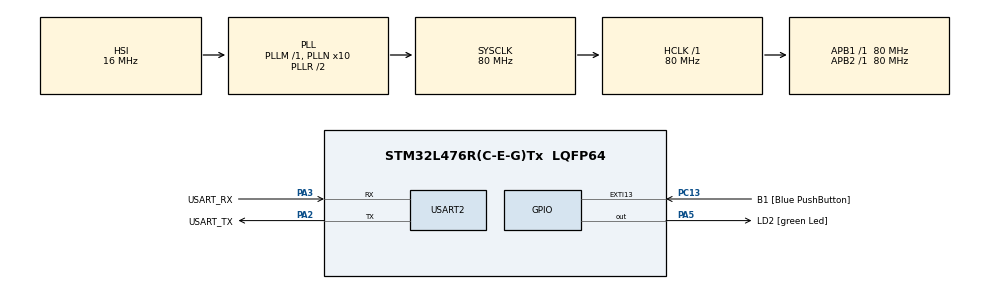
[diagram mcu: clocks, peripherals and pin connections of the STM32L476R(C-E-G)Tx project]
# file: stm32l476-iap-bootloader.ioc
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Mcu.Family=STM32L4
Mcu.Name=STM32L476R(C-E-G)Tx
Mcu.Package=LQFP64
NVIC.PriorityGroup=NVIC_PRIORITYGROUP_4
PA13\ (JTMS-SWDIO).GPIO_Label=TMS
PA13\ (JTMS-SWDIO).Mode=Serial_Wire
PA13\ (JTMS-SWDIO).Signal=SYS_JTMS-SWDIO
PA14\ (JTCK-SWCLK).GPIO_Label=TCK
PA14\ (JTCK-SWCLK).Mode=Serial_Wire
PA14\ (JTCK-SWCLK).Signal=SYS_JTCK-SWCLK
PA2.GPIO_Label=USART_TX
PA2.GPIO_Mode=GPIO_MODE_AF_PP
PA2.GPIO_PuPd=GPIO_NOPULL
PA2.GPIO_Speed=GPIO_SPEED_FREQ_VERY_HIGH
PA2.Mode=Asynchronous
PA2.Signal=USART2_TX
PA3.GPIO_Label=USART_RX
PA3.GPIO_Mode=GPIO_MODE_AF_PP
PA3.GPIO_PuPd=GPIO_NOPULL
PA3.GPIO_Speed=GPIO_SPEED_FREQ_VERY_HIGH
PA3.Mode=Asynchronous
PA3.Signal=USART2_RX
PA5.GPIO_Label=LD2 [green Led]
PA5.GPIO_ModeDefaultOutputPP=GPIO_MODE_OUTPUT_PP
PA5.GPIO_PuPd=GPIO_NOPULL
PA5.GPIO_Speed=GPIO_SPEED_FREQ_LOW
PA5.Signal=GPIO_Output
PB3\ (JTDO-TRACESWO).GPIO_Label=SWO
PB3\ (JTDO-TRACESWO).Signal=SYS_JTDO-SWO
PC13.GPIO_Label=B1 [Blue PushButton]
PC13.GPIO_ModeDefaultEXTI=GPIO_MODE_IT_FALLING
PC13.GPIO_PuPd=GPIO_NOPULL
PC13.Signal=GPXTI13
PC14-OSC32_IN\ (PC14).Signal=RCC_OSC32_IN
PC15-OSC32_OUT\ (PC15).Signal=RCC_OSC32_OUT
PH0-OSC_IN\ (PH0).Mode=HSE-External-Oscillator
PH0-OSC_IN\ (PH0).Signal=RCC_OSC_IN
PH1-OSC_OUT\ (PH1).Mode=HSE-External-Oscillator
PH1-OSC_OUT\ (PH1).Signal=RCC_OSC_OUT
ProjectManager.HeapSize=0x200
ProjectManager.StackSize=0x400
ProjectManager.TargetToolchain=CMake
RCC.ADCFreq_Value=64000000
RCC.AHBFreq_Value=80000000
RCC.APB1Freq_Value=80000000
RCC.APB1TimFreq_Value=80000000
RCC.APB2Freq_Value=80000000
RCC.APB2TimFreq_Value=80000000
RCC.CortexFreq_Value=80000000
RCC.HCLKFreq_Value=80000000
RCC.HSE_VALUE=8000000
RCC.HSI_VALUE=16000000
RCC.LSE_VALUE=32768
RCC.MSI_VALUE=4000000
RCC.PLLN=10
RCC.PLLSourceVirtual=RCC_PLLSOURCE_HSI
RCC.PREFETCH_ENABLE=1
RCC.SYSCLKFreq_VALUE=80000000
RCC.SYSCLKSource=RCC_SYSCLKSOURCE_PLLCLK
RCC.USBFreq_Value=64000000
RCC.VCOOutputFreq_Value=160000000
USART2.VirtualMode-Asynchronous=VM_ASYNC
VP_CRC_VS_CRC.Mode=CRC_Activate
board=NUCLEO-L476RG

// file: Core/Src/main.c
/* USER CODE BEGIN Header */
/**
 ******************************************************************************
 * @file           : main.c
 * @brief          : Main program body
 ******************************************************************************
 * @attention
 *
 * Copyright (c) 2026 STMicroelectronics.
 * All rights reserved.
 *
 * This software is licensed under terms that can be found in the LICENSE file
 * in the root directory of this software component.
 * If no LICENSE file comes with this software, it is provided AS-IS.
 *
 ******************************************************************************
 */
/* USER CODE END Header */
#include "main.h"
#include "cmsis_gcc.h"
#include "crc.h"
#include "gpio.h"
#include "usart.h"
#include <stdint.h>

/* USER CODE BEGIN PD */
#define APP_START_ADDR   0x8004000U
#define SRAM1_START_ADDR 0x20000000U
#define SRAM2_START_ADDR 0x10000000U
#define SRAM1_END_ADDR 0x20018000U // lenght: 96K (0x18000)
#define SRAM2_END_ADDR 0x10008000U // lenght: 32K (0x8000)
/* USER CODE END PD */

void SystemClock_Config(void);
/* USER CODE BEGIN PFP */
void JumpToApplication(void);
/* USER CODE END PFP */

/* USER CODE BEGIN 0 */
void JumpToApplication(void) {
	uint32_t app_msp = *(__IO uint32_t *)APP_START_ADDR; // Main Stack Pointer
	uint32_t app_reset_handler = *(__IO uint32_t *)(APP_START_ADDR + 4U);

	if ((app_msp >= SRAM1_START_ADDR && app_msp <= SRAM1_END_ADDR) ||
		(app_msp >= SRAM2_START_ADDR && app_msp <= SRAM2_END_ADDR)) {
		SCB->VTOR = APP_START_ADDR;

		// Stop interupts and systick so it's not break set_msp
		__disable_irq();
		SysTick->CTRL = 0;

		__set_MSP(app_msp);

		__enable_irq();

		void (*app_entry)(void) = (void (*)(void))(uintptr_t)app_reset_handler;
		app_entry();
	}
}
/* USER CODE END 0 */

int main(void) {

	/* MCU
	 * Configuration--------------------------------------------------------*/

	/* Reset of all peripherals, Initializes the Flash interface and the
	 * Systick. */
	HAL_Init();

	/* Configure the system clock */
	SystemClock_Config();

	/* Initialize all configured peripherals */
	MX_GPIO_Init();
	MX_CRC_Init();
	MX_USART2_UART_Init();
	/* USER CODE BEGIN 2 */
	JumpToApplication();
	/* USER CODE END 2 */

	/* Infinite loop */
	while (1) {

	}
}

void SystemClock_Config(void) {
	RCC_OscInitTypeDef RCC_OscInitStruct = {0};
	RCC_ClkInitTypeDef RCC_ClkInitStruct = {0};

	/** Configure the main internal regulator output voltage
	 */
	if (HAL_PWREx_ControlVoltageScaling(PWR_REGULATOR_VOLTAGE_SCALE1) !=
		HAL_OK) {
		Error_Handler();
	}

	/** Initializes the RCC Oscillators according to the specified parameters
	 * in the RCC_OscInitTypeDef structure.
	 */
	RCC_OscInitStruct.OscillatorType = RCC_OSCILLATORTYPE_HSI;
	RCC_OscInitStruct.HSIState = RCC_HSI_ON;
	RCC_OscInitStruct.HSICalibrationValue = RCC_HSICALIBRATION_DEFAULT;
	RCC_OscInitStruct.PLL.PLLState = RCC_PLL_ON;
	RCC_OscInitStruct.PLL.PLLSource = RCC_PLLSOURCE_HSI;
	RCC_OscInitStruct.PLL.PLLM = 1;
	RCC_OscInitStruct.PLL.PLLN = 10;
	RCC_OscInitStruct.PLL.PLLP = RCC_PLLP_DIV7;
	RCC_OscInitStruct.PLL.PLLQ = RCC_PLLQ_DIV2;
	RCC_OscInitStruct.PLL.PLLR = RCC_PLLR_DIV2;
	if (HAL_RCC_OscConfig(&RCC_OscInitStruct) != HAL_OK) {
		Error_Handler();
	}

	/** Initializes the CPU, AHB and APB buses clocks
	 */
	RCC_ClkInitStruct.ClockType = RCC_CLOCKTYPE_HCLK | RCC_CLOCKTYPE_SYSCLK |
								  RCC_CLOCKTYPE_PCLK1 | RCC_CLOCKTYPE_PCLK2;
	RCC_ClkInitStruct.SYSCLKSource = RCC_SYSCLKSOURCE_PLLCLK;
	RCC_ClkInitStruct.AHBCLKDivider = RCC_SYSCLK_DIV1;
	RCC_ClkInitStruct.APB1CLKDivider = RCC_HCLK_DIV1;
	RCC_ClkInitStruct.APB2CLKDivider = RCC_HCLK_DIV1;

	if (HAL_RCC_ClockConfig(&RCC_ClkInitStruct, FLASH_LATENCY_4) != HAL_OK) {
		Error_Handler();
	}
}

void Error_Handler(void) {
	/* USER CODE BEGIN Error_Handler_Debug */
	/* User can add his own implementation to report the HAL error return state
	 */
	__disable_irq();
	while (1) {
	}
	/* USER CODE END Error_Handler_Debug */
}
#ifdef USE_FULL_ASSERT
/**
 * @brief  Reports the name of the source file and the source line number
 *         where the assert_param error has occurred.
 * @param  file: pointer to the source file name
 * @param  line: assert_param error line source number
 * @retval None
 */
void assert_failed(uint8_t *file, uint32_t line) {
	/* USER CODE BEGIN 6 */
	/* User can add his own implementation to report the file name and line
	   number, ex: printf("Wrong parameters value: file %s on line %d\r\n",
	   file, line) */
	/* USER CODE END 6 */
}
#endif /* USE_FULL_ASSERT */
